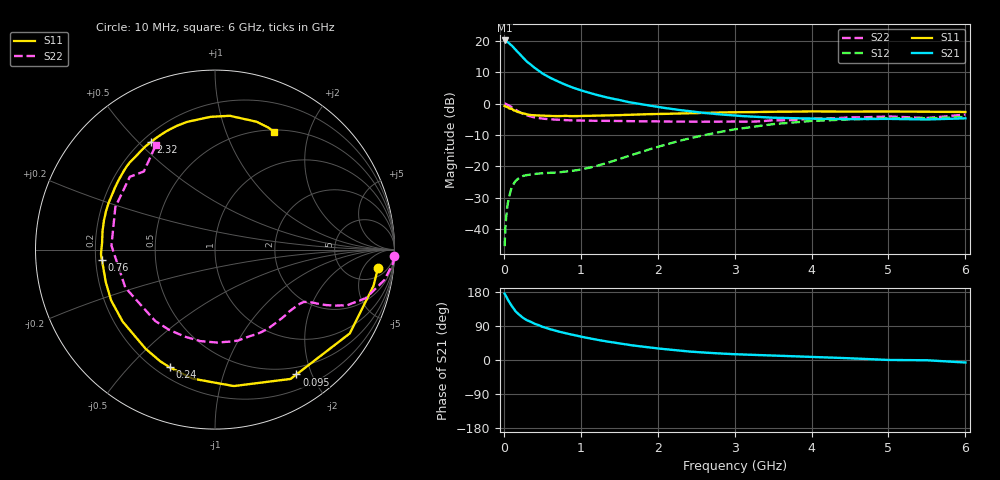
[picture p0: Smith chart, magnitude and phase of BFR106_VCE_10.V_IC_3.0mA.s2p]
! Infineon Technologies  Discrete & RF Semiconductors
! BFR106
! VCE =  10. V,  IC =  3.0 mA
! Common Emitter S-Parameters:  Nov 2015
# GHz  S  MA  R  50
!  f  S11  S21  S12  S22
! GHz  MAG  ANG  MAG  ANG  MAG  ANG  MAG  ANG
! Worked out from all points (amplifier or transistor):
!   210 points, 10 MHz to 6 GHz, reference 50 ohm
!   highest |S21| = 20.2 dB at 10 MHz (marker M1)
!   |S21| within 3 dB of that: start of sweep to 154.8 MHz
!   unconditionally stable (mu >= 1): 713.8 MHz to 1.818 GHz; 4.438 GHz to end of sweep
!   at 185 MHz: K = 0.29, MSG = 20.2 dB, |S12| = -24.0 dB
!   at 1.52 GHz: K = 1.13, MAG = 7.1 dB, |S12| = -17.5 dB
!   at 6 GHz: K = 1.02, MAG = -1.1 dB, |S12| = -4.2 dB
!   S11 on the Smith chart (normalised r, x): 10 MHz: 9, -11; 95 MHz: 0.40, -1.78; 240 MHz: 0.25, -0.66; 760 MHz: 0.23, -0.04; 2.32 GHz: 0.23, +0.55; 6 GHz: 0.52, +1.49
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0.01  0.914 -6.4  10.18 175.1  0.0053 88.1  0.9982 -2.2
0.02  0.9058 -12.9  10.1 171.8  0.0102 81.6  0.9952 -4.4
0.05  0.8842 -31.9  9.645 159.3  0.025 73.1  0.9588 -10.2
0.095  0.8305 -56.9  8.613 145.0  0.0431 60.8  0.8891 -17.1
0.1  0.8347 -59.7  8.536 143.2  0.0452 60.1  0.8822 -17.9
0.15  0.7676 -82.1  7.309 128.8  0.0579 49.2  0.7996 -22.8
0.2  0.7296 -99.8  6.285 119.4  0.0651 43.5  0.734 -25.2
0.24  0.7026 -111.1  5.55 112.9  0.069 39.7  0.6926 -26.5
0.26  0.6931 -116.1  5.236 109.9  0.0705 38.4  0.6754 -27.0
0.3  0.6743 -125.0  4.683 105.0  0.0723 36.7  0.648 -27.7
0.4  0.6523 -142.0  3.722 95.6  0.0755 33.8  0.6002 -29.1
0.5  0.6443 -153.9  3.035 87.7  0.0772 34.0  0.575 -30.5
0.6  0.6349 -163.4  2.589 81.3  0.0786 35.7  0.5616 -32.4
0.76  0.6329 -175.0  2.1 72.7  0.081 40.4  0.5476 -36.1
1.02  0.6356 169.5  1.601 60.9  0.0896 51.0  0.5359 -43.3
1.4  0.6493 152.4  1.206 47.0  0.1188 64.5  0.5301 -56.1
2.02  0.6821 130.2  0.877 30.1  0.2071 69.9  0.5191 -81.1
2.32  0.6979 120.7  0.781 24.1  0.2613 67.2  0.5149 -95.1
3.1  0.7288 100.2  0.632 14.6  0.4028 52.8  0.5141 -135.5
4.1  0.7483 82.4  0.572 7.7  0.5336 30.4  0.5763 173.5
5.1  0.7473 70.9  0.568 -0.1  0.5794 12.1  0.6164 138.1
6  0.7345 63.3  0.582 -6.6  0.6136 0.2  0.6701 119.4
